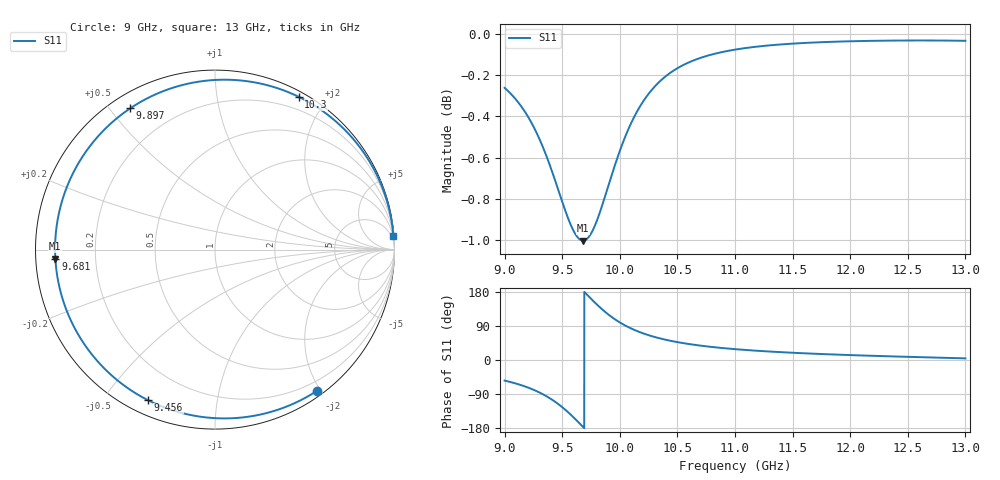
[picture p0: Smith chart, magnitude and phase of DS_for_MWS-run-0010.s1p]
! TOUCHSTONE file generated by CST DESIGN STUDIO
! Date and time: Tue Feb  4 18:46:49 2025
! Project name: C:\Work\MatlabApps\UnitCellOptimizationMatlab\CST\unitcell.cst
! Tree item: Tasks\Sweep1\SPara1\S-Parameters
! Header version: 2024
! Port assignment regex: !\s*Touchstone port\s*([0-9]+)\s*=\s*(CST MWS port|CST DES external port|CST DES block port)\s*(.+)\s* \(\"(.*)\"\)(\s*mode\s*([0-9]+))?.*
! Touchstone port assignment:
! Touchstone port 1 = CST DES external port 1 ("")
# GHz S MA R 50
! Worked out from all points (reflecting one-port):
!   4001 points, 9 GHz to 13 GHz, reference 50 ohm
!   lowest |S11| = -1.0 dB at 9.681 GHz (marker M1), VSWR 17.33, Z = 2.89 - j1.41 ohm
!   phase of S11 starts at -54 deg and turns -301 deg over the sweep
!   S11 on the Smith chart (normalised r, x): 9 GHz: 0.07, -1.95; 9.456 GHz: 0.06, -0.65; 9.681 GHz: 0.06, -0.03; 9.897 GHz: 0.06, +0.57; 10.3 GHz: 0.06, +1.69; 13 GHz: 1, +27
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9  0.9704 -54.3
9.12  0.9624 -64.1
9.236  0.9513 -76.6
9.359  0.9347 -94.8
9.41  0.9264 -104.3
9.456  0.9183 -114.0
9.5  0.9105 -124.4
9.55  0.9023 -137.5
9.601  0.8955 -152.1
9.642  0.892 -164.6
9.681  0.8909 -176.8
9.727  0.8925 168.8
9.775  0.8972 154.1
9.837  0.9068 136.3
9.897  0.918 120.9
9.947  0.9274 109.7
10  0.9368 99.2
10.065  0.9469 88.1
10.143  0.9569 77.2
10.296  0.9706 61.3
10.392  0.9764 53.9
10.5  0.9811 47.2
10.719  0.9872 37.2
11  0.9914 28.6
11.5  0.9947 19.1
12  0.9961 12.9
12.5  0.9965 8.3
13  0.9963 4.3
